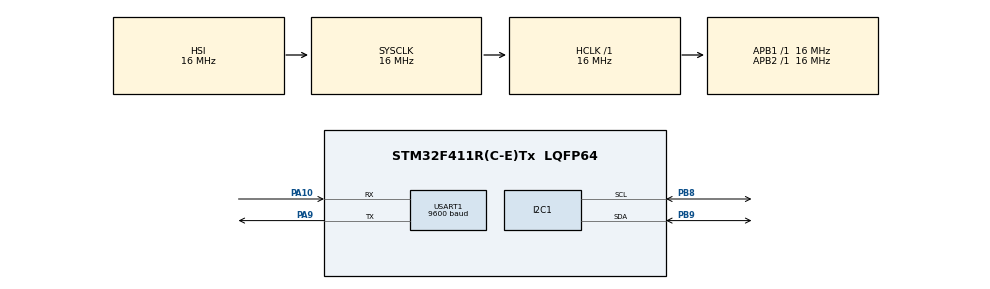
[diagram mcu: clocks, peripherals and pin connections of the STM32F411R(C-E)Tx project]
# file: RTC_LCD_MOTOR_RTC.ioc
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Mcu.Family=STM32F4
Mcu.Name=STM32F411R(C-E)Tx
Mcu.Package=LQFP64
NVIC.PriorityGroup=NVIC_PRIORITYGROUP_4
NVIC.RTC_Alarm_IRQn=true\:0\:0\:false\:false\:true\:true\:true\:true
NVIC.USART1_IRQn=true\:0\:0\:false\:false\:true\:true\:true\:true
PA10.Mode=Asynchronous
PA10.Signal=USART1_RX
PA9.Mode=Asynchronous
PA9.Signal=USART1_TX
PB8.Mode=I2C
PB8.Signal=I2C1_SCL
PB9.Mode=I2C
PB9.Signal=I2C1_SDA
ProjectManager.HeapSize=0x200
ProjectManager.StackSize=0x400
ProjectManager.TargetToolchain=STM32CubeIDE
RCC.AHBFreq_Value=16000000
RCC.APB1Freq_Value=16000000
RCC.APB2Freq_Value=16000000
RCC.CortexFreq_Value=16000000
RCC.HSE_VALUE=25000000
RCC.HSI_VALUE=16000000
RCC.LSE_VALUE=32768
RCC.SYSCLKFreq_VALUE=16000000
RCC.VCOOutputFreq_Value=192000000
RTC.Alarm=RTC_ALARM_A
RTC.Date=27
RTC.Format=RTC_FORMAT_BIN
RTC.Hours=15
RTC.Minutes=45
RTC.Month=RTC_MONTH_DECEMBER
RTC.Seconds=45
RTC.Seconds_A=10
RTC.WeekDay=RTC_WEEKDAY_TUESDAY
RTC.Year=22
USART1.BaudRate=9600
USART1.VirtualMode=VM_ASYNC
VP_RTC_VS_RTC_Activate.Mode=RTC_Enabled
VP_RTC_VS_RTC_Alarm_A_Intern.Mode=Alarm A
VP_RTC_VS_RTC_Calendar.Mode=RTC_Calendar
board=custom

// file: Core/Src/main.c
/* USER CODE BEGIN Header */
/**
  ******************************************************************************
  * @file           : main.c
  * @brief          : Main program body
  ******************************************************************************
  * @attention
  *
  * Copyright (c) 2022 STMicroelectronics.
  * All rights reserved.
  *
  * This software is licensed under terms that can be found in the LICENSE file
  * in the root directory of this software component.
  * If no LICENSE file comes with this software, it is provided AS-IS.
  *
  ******************************************************************************
  */
/* USER CODE END Header */
#include"stdio.h"
#include "main.h"
#include<string.h>
#include"lcd.h"
#include "RTC.h"

I2C_HandleTypeDef hi2c1;

RTC_HandleTypeDef hrtc;

UART_HandleTypeDef huart1;

/* USER CODE BEGIN PV */
void MOTOR_Init(void);
void Time_Init(void);
/* USER CODE END PV */

void SystemClock_Config(void);
static void MX_GPIO_Init(void);
static void MX_I2C1_Init(void);
static void MX_RTC_Init(void);
static void MX_USART1_UART_Init(void);
/* USER CODE BEGIN PFP */
#define TRUE 1
#define FALSE 0
/* USER CODE END PFP */

/* USER CODE BEGIN 0 */
char *USER_DATA="Sankalp!";
uint8_t recvd_data;
	uint8_t data_buf[50];
	uint8_t count=0;
	uint8_t rec_comp_data=FALSE;
	char str[20];
/* USER CODE END 0 */

int main(void)
{

  /* MCU Configuration--------------------------------------------------------*/

  /* Reset of all peripherals, Initializes the Flash interface and the Systick. */
  HAL_Init();
  LCD_init();

  /* Configure the system clock */
  SystemClock_Config();

  /* Initialize all configured peripherals */
  MX_GPIO_Init();
  MX_I2C1_Init();
  MX_RTC_Init();
  MX_USART1_UART_Init();
  /* USER CODE BEGIN 2 */
  uint16_t len_of_data=strlen(USER_DATA);
   HAL_UART_Transmit(&huart1, (uint8_t*)USER_DATA,len_of_data, HAL_MAX_DELAY);
   while(rec_comp_data != TRUE)
   {
 	  HAL_UART_Receive_IT(&huart1,&recvd_data,1);
   }
   while(1);
   return 0;
  /* USER CODE END 2 */

}

void HAL_UART_RxCpltCallback(UART_HandleTypeDef *huart)
{
	data_buf[count++]=recvd_data;
	if(strcmp(data_buf,"18")==0)
	{
		LCD_string("WELCOME ON BOARD");
		LCD_command(0xC4);
		LCD_string("SANKALP!");
		MOTOR_Init();
	}
	else if(strcmp(data_buf,"3E")==0)
	{
		LCD_string("WELCOME ON BOARD");
		LCD_command(0xC4);
		LCD_string("NARESH!");
		MOTOR_Init();
	}
	else if(strcmp(data_buf,"55")==0)
	{
		LCD_string("WELCOME ON BOARD");
		LCD_command(0xC4);
		LCD_string("SANDEEP!");
		MOTOR_Init();
	}
}

void MOTOR_Init()
{
	HAL_GPIO_WritePin(GPIOC, GPIO_PIN_0, 1);       //For Gate Open
	HAL_GPIO_WritePin(GPIOC, GPIO_PIN_1, 0);
	delay(3000);
	HAL_GPIO_WritePin(GPIOC, GPIO_PIN_0, 0);        //Stop
	HAL_GPIO_WritePin(GPIOC, GPIO_PIN_1, 0);
	delay(2000);
	HAL_GPIO_WritePin(GPIOC, GPIO_PIN_0, 0);       //For Gate Close
	HAL_GPIO_WritePin(GPIOC, GPIO_PIN_1, 1);
	delay(3000);
	HAL_GPIO_WritePin(GPIOC, GPIO_PIN_0, 0);        //Stop
	HAL_GPIO_WritePin(GPIOC, GPIO_PIN_1, 0);
}

void Time_Init()
{
	HAL_Init();

	  /* Configure the system clock */
	  SystemClock_Config();

	  /* Initialize all configured peripherals */
	  MX_GPIO_Init();
	  MX_I2C1_Init();
	  MX_RTC_Init();
	  /* USER CODE BEGIN 2 */
		//  SET TIME
		  sTime.Hours = 15;
		  sTime.Minutes = 59;
		  sTime.Seconds = 45;
		  HAL_RTC_SetTime(&hrtc, &sTime, RTC_FORMAT_BIN);

		//  SET DATE
		  sDate.Date = 26;
		  sDate.Month = RTC_MONTH_DECEMBER;
		  sDate.WeekDay = RTC_WEEKDAY_MONDAY;
		  sDate.Year = 22;
		  HAL_RTC_SetDate(&hrtc, &sDate, RTC_FORMAT_BIN);
	  /* USER CODE END 2 */

	  /* Infinite loop */
	  while (1)
	  {
		  HAL_RTC_GetTime(&hrtc, &sTime, RTC_FORMAT_BIN);

		  HAL_RTC_GetDate(&hrtc, &sDate, RTC_FORMAT_BIN);

		  HAL_Delay(200);
}
void SystemClock_Config(void)
{
  RCC_OscInitTypeDef RCC_OscInitStruct = {0};
  RCC_ClkInitTypeDef RCC_ClkInitStruct = {0};

  /** Configure the main internal regulator output voltage
  */
  __HAL_RCC_PWR_CLK_ENABLE();
  __HAL_PWR_VOLTAGESCALING_CONFIG(PWR_REGULATOR_VOLTAGE_SCALE1);

  /** Initializes the RCC Oscillators according to the specified parameters
  * in the RCC_OscInitTypeDef structure.
  */
  RCC_OscInitStruct.OscillatorType = RCC_OSCILLATORTYPE_HSI|RCC_OSCILLATORTYPE_LSI;
  RCC_OscInitStruct.HSIState = RCC_HSI_ON;
  RCC_OscInitStruct.HSICalibrationValue = RCC_HSICALIBRATION_DEFAULT;
  RCC_OscInitStruct.LSIState = RCC_LSI_ON;
  RCC_OscInitStruct.PLL.PLLState = RCC_PLL_NONE;
  if (HAL_RCC_OscConfig(&RCC_OscInitStruct) != HAL_OK)
  {
    Error_Handler();
  }

  /** Initializes the CPU, AHB and APB buses clocks
  */
  RCC_ClkInitStruct.ClockType = RCC_CLOCKTYPE_HCLK|RCC_CLOCKTYPE_SYSCLK
                              |RCC_CLOCKTYPE_PCLK1|RCC_CLOCKTYPE_PCLK2;
  RCC_ClkInitStruct.SYSCLKSource = RCC_SYSCLKSOURCE_HSI;
  RCC_ClkInitStruct.AHBCLKDivider = RCC_SYSCLK_DIV1;
  RCC_ClkInitStruct.APB1CLKDivider = RCC_HCLK_DIV1;
  RCC_ClkInitStruct.APB2CLKDivider = RCC_HCLK_DIV1;

  if (HAL_RCC_ClockConfig(&RCC_ClkInitStruct, FLASH_LATENCY_0) != HAL_OK)
  {
    Error_Handler();
  }
}

static void MX_I2C1_Init(void)
{

  hi2c1.Instance = I2C1;
  hi2c1.Init.ClockSpeed = 100000;
  hi2c1.Init.DutyCycle = I2C_DUTYCYCLE_2;
  hi2c1.Init.OwnAddress1 = 0;
  hi2c1.Init.AddressingMode = I2C_ADDRESSINGMODE_7BIT;
  hi2c1.Init.DualAddressMode = I2C_DUALADDRESS_DISABLE;
  hi2c1.Init.OwnAddress2 = 0;
  hi2c1.Init.GeneralCallMode = I2C_GENERALCALL_DISABLE;
  hi2c1.Init.NoStretchMode = I2C_NOSTRETCH_DISABLE;
  if (HAL_I2C_Init(&hi2c1) != HAL_OK)
  {
    Error_Handler();
  }

}

static void MX_RTC_Init(void)
{

  RTC_TimeTypeDef sTime = {0};
  RTC_DateTypeDef sDate = {0};
  RTC_AlarmTypeDef sAlarm = {0};

  /** Initialize RTC Only
  */
  hrtc.Instance = RTC;
  hrtc.Init.HourFormat = RTC_HOURFORMAT_24;
  hrtc.Init.AsynchPrediv = 127;
  hrtc.Init.SynchPrediv = 255;
  hrtc.Init.OutPut = RTC_OUTPUT_DISABLE;
  hrtc.Init.OutPutPolarity = RTC_OUTPUT_POLARITY_HIGH;
  hrtc.Init.OutPutType = RTC_OUTPUT_TYPE_OPENDRAIN;
  if (HAL_RTC_Init(&hrtc) != HAL_OK)
  {
    Error_Handler();
  }

  /** Initialize RTC and set the Time and Date
  */
  sTime.Hours = 15;
  sTime.Minutes = 45;
  sTime.Seconds = 45;
  sTime.DayLightSaving = RTC_DAYLIGHTSAVING_NONE;
  sTime.StoreOperation = RTC_STOREOPERATION_RESET;
  if (HAL_RTC_SetTime(&hrtc, &sTime, RTC_FORMAT_BIN) != HAL_OK)
  {
    Error_Handler();
  }
  sDate.WeekDay = RTC_WEEKDAY_TUESDAY;
  sDate.Month = RTC_MONTH_DECEMBER;
  sDate.Date = 27;
  sDate.Year = 22;

  if (HAL_RTC_SetDate(&hrtc, &sDate, RTC_FORMAT_BIN) != HAL_OK)
  {
    Error_Handler();
  }

  /** Enable the Alarm A
  */
  sAlarm.AlarmTime.Hours = 0;
  sAlarm.AlarmTime.Minutes = 0;
  sAlarm.AlarmTime.Seconds = 10;
  sAlarm.AlarmTime.SubSeconds = 0;
  sAlarm.AlarmTime.DayLightSaving = RTC_DAYLIGHTSAVING_NONE;
  sAlarm.AlarmTime.StoreOperation = RTC_STOREOPERATION_RESET;
  sAlarm.AlarmMask = RTC_ALARMMASK_NONE;
  sAlarm.AlarmSubSecondMask = RTC_ALARMSUBSECONDMASK_ALL;
  sAlarm.AlarmDateWeekDaySel = RTC_ALARMDATEWEEKDAYSEL_DATE;
  sAlarm.AlarmDateWeekDay = 1;
  sAlarm.Alarm = RTC_ALARM_A;
  if (HAL_RTC_SetAlarm_IT(&hrtc, &sAlarm, RTC_FORMAT_BIN) != HAL_OK)
  {
    Error_Handler();
  }

}

static void MX_USART1_UART_Init(void)
{

  huart1.Instance = USART1;
  huart1.Init.BaudRate = 9600;
  huart1.Init.WordLength = UART_WORDLENGTH_8B;
  huart1.Init.StopBits = UART_STOPBITS_1;
  huart1.Init.Parity = UART_PARITY_NONE;
  huart1.Init.Mode = UART_MODE_TX_RX;
  huart1.Init.HwFlowCtl = UART_HWCONTROL_NONE;
  huart1.Init.OverSampling = UART_OVERSAMPLING_16;
  if (HAL_UART_Init(&huart1) != HAL_OK)
  {
    Error_Handler();
  }

}

static void MX_GPIO_Init(void)
{

  /* GPIO Ports Clock Enable */
  __HAL_RCC_GPIOA_CLK_ENABLE();
  __HAL_RCC_GPIOB_CLK_ENABLE();

}

void Error_Handler(void)
{
  __disable_irq();
  while (1)
  {
  }
}
